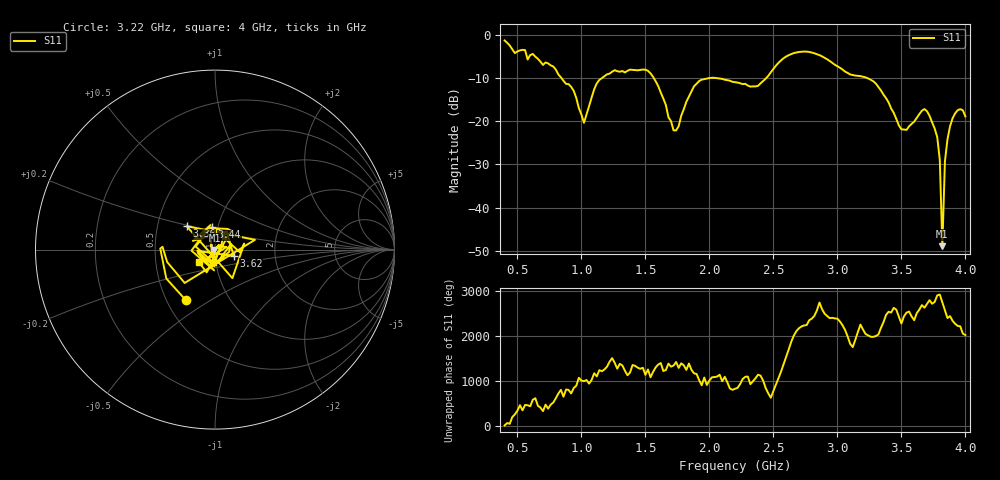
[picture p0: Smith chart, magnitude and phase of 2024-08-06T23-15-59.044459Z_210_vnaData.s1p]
!Created with skrf (http://scikit-rf.org).
# Hz S RI R 50.0
!freq ReS11 ImS11
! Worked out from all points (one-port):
!   181 points, 400 MHz to 4 GHz, reference 50 ohm
!   lowest |S11| = -49.0 dB at 3.82 GHz (marker M1), VSWR 1.01, Z = 49.7 - j0.214 ohm
!   |S11| at or under -10 dB: 1.567 GHz to 1.987 GHz (420 MHz wide, 23.6 % of centre); 2.069 GHz to 2.442 GHz (373.6 MHz wide, 16.6 % of centre); 3.239 GHz to end of sweep (the widest 3 of 4)
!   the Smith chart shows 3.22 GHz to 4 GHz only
!   S11 on the Smith chart (normalised r, x): 3.22 GHz: 0.62, -0.39; 3.36 GHz: 0.71, +0.19; 3.44 GHz: 0.94, +0.24; 3.62 GHz: 1.23, -0.09; 4 GHz: 0.82, -0.11
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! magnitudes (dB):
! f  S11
! 400 MHz  -1.2
! 860 MHz  -10.6
! 940 MHz  -12.9
! 1.02 GHz  -20.3
! 1.12 GHz  -11.2
! 1.3 GHz  -8.5
! 1.52 GHz  -8.3
! 1.72 GHz  -22.1
! 1.76 GHz  -21.1
! 1.92 GHz  -10.6
! 2.2 GHz  -10.9
! 2.38 GHz  -11.7
! 2.66 GHz  -4.1
! 3.1 GHz  -9.1
! 3.22 GHz  -9.8
! 3.36 GHz  -13.8
! 3.44 GHz  -18.0
! 3.5 GHz  -21.8
! 3.56 GHz  -21.1
! 3.62 GHz  -19.2
! 3.7 GHz  -17.6
! 3.78 GHz  -23.7
! 3.8 GHz  -28.9
! 3.82 GHz  -49.0
! 3.84 GHz  -29.3
! 3.86 GHz  -24.2
! 3.92 GHz  -18.1
! 4 GHz  -18.9
